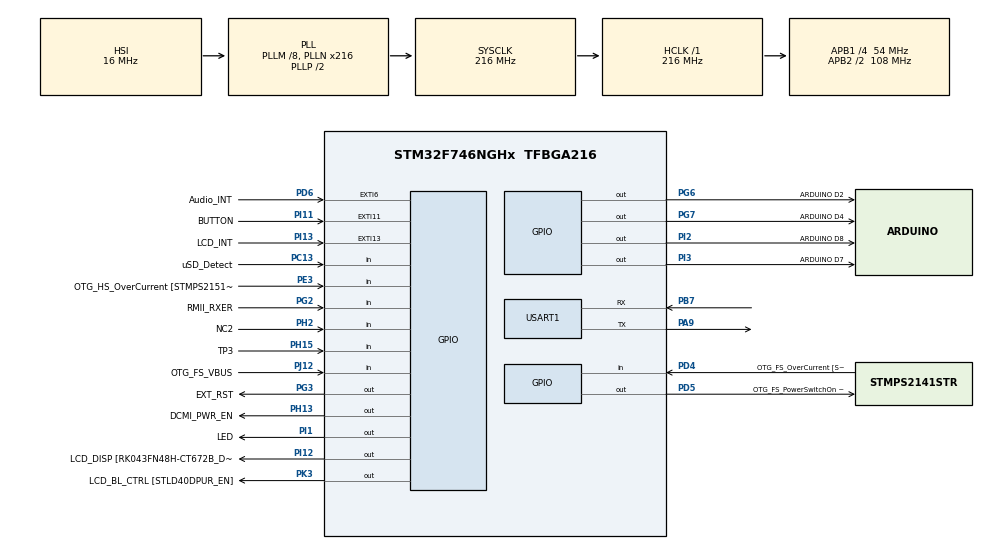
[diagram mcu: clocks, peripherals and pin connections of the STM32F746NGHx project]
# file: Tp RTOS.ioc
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FREERTOS.Tasks01=defaultTask,0,128,StartDefaultTask,Default,NULL,Dynamic,NULL,NULL
FREERTOS.configUSE_NEWLIB_REENTRANT=0
Mcu.Family=STM32F7
Mcu.Name=STM32F746NGHx
Mcu.Package=TFBGA216
NVIC.PriorityGroup=NVIC_PRIORITYGROUP_4
NVIC.TIM6_DAC_IRQn=true\:15\:0\:false\:false\:true\:false\:false\:true\:true
NVIC.TimeBase=TIM6_DAC_IRQn
NVIC.TimeBaseIP=TIM6
PA0/WKUP.GPIO_Label=ARDUINO A0
PA0/WKUP.GPIO_Mode=GPIO_MODE_ANALOG
PA0/WKUP.GPIO_PuPd=GPIO_NOPULL
PA0/WKUP.Signal=ADCx_IN0
PA1.GPIO_Label=RMII_REF_CLK [LAN8742A-CZ-TR_REFCLK0]
PA1.Signal=ETH_REF_CLK
PA10.GPIO_Label=OTG_FS_ID
PA10.Signal=USB_OTG_FS_ID
PA11.GPIO_Label=OTG_FS_N
PA11.Signal=USB_OTG_FS_DM
PA12.GPIO_Label=OTG_FS_P
PA12.Signal=USB_OTG_FS_DP
PA13.GPIO_Label=SWDIO
PA13.Mode=Serial_Wire
PA13.Signal=SYS_JTMS-SWDIO
PA14.GPIO_Label=SWCLK
PA14.Mode=Serial_Wire
PA14.Signal=SYS_JTCK-SWCLK
PA15.GPIO_Label=ARDUINO PWM/D9
PA15.GPIO_ModeDefaultPP=GPIO_MODE_AF_PP
PA15.GPIO_PuPd=GPIO_NOPULL
PA15.GPIO_Speed=GPIO_SPEED_FREQ_LOW
PA15.Signal=S_TIM2_CH1_ETR
PA2.GPIO_Label=RMII_MDIO [LAN8742A-CZ-TR_MDIO]
PA2.Signal=ETH_MDIO
PA3.GPIO_Label=ULPI_D0 [USB3320C-EZK_D0]
PA3.Signal=USB_OTG_HS_ULPI_D0
PA4.GPIO_Label=DCMI_HSYNC
PA4.Signal=DCMI_HSYNC
PA5.GPIO_Label=ULPI_CLK [USB3320C-EZK_CLKOUT]
PA5.Signal=USB_OTG_HS_ULPI_CK
PA6.Signal=DCMI_PIXCLK
PA7.GPIO_Label=RMII_CRS_DV [LAN8742A-CZ-TR_CRS_DV]
PA7.Signal=ETH_CRS_DV
PA8.GPIO_Label=ARDUINO PWM/D10
PA8.GPIO_ModeDefaultPP=GPIO_MODE_AF_PP
PA8.GPIO_PuPd=GPIO_NOPULL
PA8.GPIO_Speed=GPIO_SPEED_FREQ_LOW
PA8.Signal=S_TIM1_CH1
PA9.Mode=Asynchronous
PA9.Signal=USART1_TX
PB0.GPIO_Label=ULPI_D1 [USB3320C-EZK_D1]
PB0.Signal=USB_OTG_HS_ULPI_D1
PB1.GPIO_Label=ULPI_D2 [USB3320C-EZK_D2]
PB1.Signal=USB_OTG_HS_ULPI_D2
PB10.GPIO_Label=ULPI_D3 [USB3320C-EZK_D3]
PB10.Signal=USB_OTG_HS_ULPI_D3
PB11.GPIO_Label=ULPI_D4 [USB3320C-EZK_D4]
PB11.Signal=USB_OTG_HS_ULPI_D4
PB12.GPIO_Label=ULPI_D5 [USB3320C-EZK_D5]
PB12.Signal=USB_OTG_HS_ULPI_D5
PB13.GPIO_Label=ULPI_D6 [USB3320C-EZK_D6]
PB13.Signal=USB_OTG_HS_ULPI_D6
PB14.GPIO_Label=ARDUINO MISO/D12
PB14.GPIO_Mode=GPIO_MODE_AF_PP
PB14.GPIO_PuPd=GPIO_NOPULL
PB14.GPIO_Speed=GPIO_SPEED_FREQ_LOW
PB14.Signal=SPI2_MISO
PB15.GPIO_Label=ARDUINO MOSI/PWM/D11
PB15.GPIO_Mode=GPIO_MODE_AF_PP
PB15.GPIO_PuPd=GPIO_NOPULL
PB15.GPIO_Speed=GPIO_SPEED_FREQ_LOW
PB15.Signal=SPI2_MOSI
PB2.Signal=QUADSPI_CLK
PB3.GPIO_Label=SWO
PB3.Signal=SYS_JTDO-SWO
PB4.GPIO_Label=ARDUINO PWM/D3
PB4.GPIO_ModeDefaultPP=GPIO_MODE_AF_PP
PB4.GPIO_PuPd=GPIO_NOPULL
PB4.GPIO_Speed=GPIO_SPEED_FREQ_LOW
PB4.Signal=S_TIM3_CH1
PB5.GPIO_Label=ULPI_D7 [USB3320C-EZK_D7]
PB5.Signal=USB_OTG_HS_ULPI_D7
PB6.GPIO_Label=QSPI_NCS [N25Q128A13EF840E_S]
PB6.Signal=QUADSPI_BK1_NCS
PB7.Mode=Asynchronous
PB7.Signal=USART1_RX
PB8.GPIO_Label=ARDUINO SCL/D15
PB8.GPIO_Mode=GPIO_MODE_AF_OD
PB8.GPIO_PuPd=GPIO_NOPULL
PB8.GPIO_Speed=GPIO_SPEED_FREQ_LOW
PB8.Signal=I2C1_SCL
PB9.GPIO_Label=ARDUINO SDA/D14
PB9.GPIO_Mode=GPIO_MODE_AF_OD
PB9.GPIO_PuPd=GPIO_NOPULL
PB9.GPIO_Speed=GPIO_SPEED_FREQ_LOW
PB9.Signal=I2C1_SDA
PC0.GPIO_Label=ULPI_STP [USB3320C-EZK_STP]
PC0.Signal=USB_OTG_HS_ULPI_STP
PC1.GPIO_Label=RMII_MDC [LAN8742A-CZ-TR_MDC]
PC1.Signal=ETH_MDC
PC10.GPIO_Label=SDMMC_D2
PC10.Signal=SDMMC1_D2
PC11.GPIO_Label=SDMMC_D3
PC11.Signal=SDMMC1_D3
PC12.GPIO_Label=SDMMC_CK
PC12.Signal=SDMMC1_CK
PC13.GPIO_Label=uSD_Detect
PC13.Signal=GPIO_Input
PC14/OSC32_IN.GPIO_Label=RCC_OSC32_IN
PC14/OSC32_IN.Signal=RCC_OSC32_IN
PC15/OSC32_OUT.GPIO_Label=RCC_OSC32_OUT
PC15/OSC32_OUT.Signal=RCC_OSC32_OUT
PC2.GPIO_Label=ULPI_DIR [USB3320C-EZK_DIR]
PC2.Signal=USB_OTG_HS_ULPI_DIR
PC3.GPIO_Label=FMC_SDCKE0 [MT48LC4M32B2B5-6A_CKE]
PC3.Signal=FMC_SDCKE0
PC4.GPIO_Label=RMII_RXD0 [LAN8742A-CZ-TR_RXD0]
PC4.Signal=ETH_RXD0
PC5.GPIO_Label=RMII_RXD1 [LAN8742A-CZ-TR_RXD1]
PC5.Signal=ETH_RXD1
PC6.GPIO_Label=ARDUINO TX/D1
PC6.Signal=USART6_TX
PC7.GPIO_Label=ARDUINO RX/D0
PC7.Signal=USART6_RX
PC8.Signal=SDMMC1_D0
PC9.Signal=SDMMC1_D1
PD0.GPIO_Label=FMC_D2 [MT48LC4M32B2B5-6A_DQ2]
PD0.Signal=FMC_D2_DA2
PD1.GPIO_Label=FMC_D3 [MT48LC4M32B2B5-6A_DQ3]
PD1.Signal=FMC_D3_DA3
PD10.GPIO_Label=FMC_D15 [MT48LC4M32B2B5-6A_DQ15]
PD10.Signal=FMC_D15_DA15
PD11.GPIO_Label=QSPI_D0 [N25Q128A13EF840E_DQ0]
PD11.Signal=QUADSPI_BK1_IO0
PD12.GPIO_Label=QSPI_D1 [N25Q128A13EF840E_DQ1]
PD12.Signal=QUADSPI_BK1_IO1
PD13.GPIO_Label=QSPI_D3 [N25Q128A13EF840E_DQ3]
PD13.Signal=QUADSPI_BK1_IO3
PD14.GPIO_Label=FMC_D0 [MT48LC4M32B2B5-6A_DQ0]
PD14.Signal=FMC_D0_DA0
PD15.GPIO_Label=FMC_D1 [MT48LC4M32B2B5-6A_DQ1]
PD15.Signal=FMC_D1_DA1
PD2.GPIO_Label=SDMMC_D0
PD2.Signal=SDMMC1_CMD
PD3.GPIO_Label=DCMI_D5
PD3.Signal=DCMI_D5
PD4.GPIO_Label=OTG_FS_OverCurrent [STMPS2141STR_Fault]
PD4.Signal=GPIO_Input
PD5.GPIO_Label=OTG_FS_PowerSwitchOn [STMPS2141STR_EN]
PD5.PinState=GPIO_PIN_SET
PD5.Signal=GPIO_Output
PD6.GPIO_Label=Audio_INT
PD6.GPIO_ModeDefaultEXTI=GPIO_MODE_EVT_RISING
PD6.Signal=GPXTI6
PD7.GPIO_Label=SPDIF_RX0 [74LVC1G04SE_4]
PD7.Signal=SPDIFRX_IN0
PD8.GPIO_Label=FMC_D13 [MT48LC4M32B2B5-6A_DQ13]
PD8.Signal=FMC_D13_DA13
PD9.GPIO_Label=FMC_D14 [MT48LC4M32B2B5-6A_DQ14]
PD9.Signal=FMC_D14_DA14
PE0.GPIO_Label=FMC_NBL0 [MT48LC4M32B2B5-6A_DQM0]
PE0.Signal=FMC_NBL0
PE1.GPIO_Label=FMC_NBL1 [MT48LC4M32B2B5-6A_DQM1]
PE1.Signal=FMC_NBL1
PE10.GPIO_Label=FMC_D7 [MT48LC4M32B2B5-6A_DQ7]
PE10.Signal=FMC_D7_DA7
PE11.GPIO_Label=FMC_D8 [MT48LC4M32B2B5-6A_DQ8]
PE11.Signal=FMC_D8_DA8
PE12.GPIO_Label=FMC_D9 [MT48LC4M32B2B5-6A_DQ9]
PE12.Signal=FMC_D9_DA9
PE13.GPIO_Label=FMC_D10 [MT48LC4M32B2B5-6A_DQ10]
PE13.Signal=FMC_D10_DA10
PE14.GPIO_Label=FMC_D11 [MT48LC4M32B2B5-6A_DQ11]
PE14.Signal=FMC_D11_DA11
PE15.GPIO_Label=FMC_D12 [MT48LC4M32B2B5-6A_DQ12]
PE15.Signal=FMC_D12_DA12
PE2.GPIO_Label=QSPI_D2 [N25Q128A13EF840E_DQ2]
PE2.Signal=QUADSPI_BK1_IO2
PE3.GPIO_Label=OTG_HS_OverCurrent [STMPS2151STR_FAULT]
PE3.Signal=GPIO_Input
PE4.GPIO_Label=LCD_B0 [RK043FN48H-CT672B_B0]
PE4.Signal=LTDC_B0
PE5.GPIO_Label=DCMI_D6
PE5.Signal=DCMI_D6
PE6.GPIO_Label=DCMI_D7
PE6.Signal=DCMI_D7
PE7.GPIO_Label=FMC_D4 [MT48LC4M32B2B5-6A_DQ4]
PE7.Signal=FMC_D4_DA4
PE8.GPIO_Label=FMC_D5 [MT48LC4M32B2B5-6A_DQ5]
PE8.Signal=FMC_D5_DA5
PE9.GPIO_Label=FMC_D6 [MT48LC4M32B2B5-6A_DQ6]
PE9.Signal=FMC_D6_DA6
PF0.GPIO_Label=FMC_A0 [MT48LC4M32B2B5-6A_A0]
PF0.Signal=FMC_A0
PF1.GPIO_Label=FMC_A1 [MT48LC4M32B2B5-6A_A1]
PF1.Signal=FMC_A1
PF10.GPIO_Label=ARDUINO A1
PF10.GPIO_Mode=GPIO_MODE_ANALOG
PF10.GPIO_PuPd=GPIO_NOPULL
PF10.Signal=ADC3_IN8
PF11.GPIO_Label=FMC_SDNRAS [MT48LC4M32B2B5-6A_RAS]
PF11.Signal=FMC_SDNRAS
PF12.GPIO_Label=FMC_A6 [MT48LC4M32B2B5-6A_A6]
PF12.Signal=FMC_A6
PF13.GPIO_Label=FMC_A7 [MT48LC4M32B2B5-6A_A7]
PF13.Signal=FMC_A7
PF14.GPIO_Label=FMC_A8 [MT48LC4M32B2B5-6A_A8]
PF14.Signal=FMC_A8
PF15.GPIO_Label=FMC_A9 [MT48LC4M32B2B5-6A_A9]
PF15.Signal=FMC_A9
PF2.GPIO_Label=FMC_A2 [MT48LC4M32B2B5-6A_A2]
PF2.Signal=FMC_A2
PF3.GPIO_Label=FMC_A3 [MT48LC4M32B2B5-6A_A3]
PF3.Signal=FMC_A3
PF4.GPIO_Label=FMC_A4 [MT48LC4M32B2B5-6A_A4]
PF4.Signal=FMC_A4
PF5.GPIO_Label=FMC_A5 [MT48LC4M32B2B5-6A_A5]
PF5.Signal=FMC_A5
PF6.GPIO_Label=ARDUINO A5
PF6.GPIO_Mode=GPIO_MODE_ANALOG
PF6.GPIO_PuPd=GPIO_NOPULL
PF6.Signal=ADC3_IN4
PF7.GPIO_Label=ARDUINO A4
PF7.GPIO_Mode=GPIO_MODE_ANALOG
PF7.GPIO_PuPd=GPIO_NOPULL
PF7.Signal=ADC3_IN5
PF8.GPIO_Label=ARDUINO A3
PF8.GPIO_Mode=GPIO_MODE_ANALOG
PF8.GPIO_PuPd=GPIO_NOPULL
PF8.Signal=ADC3_IN6
PF9.GPIO_Label=ARDUINO A2
PF9.GPIO_Mode=GPIO_MODE_ANALOG
PF9.GPIO_PuPd=GPIO_NOPULL
PF9.Signal=ADC3_IN7
PG0.GPIO_Label=FMC_A10 [MT48LC4M32B2B5-6A_A10]
PG0.Signal=FMC_A10
PG1.GPIO_Label=FMC_A11 [MT48LC4M32B2B5-6A_A11]
PG1.Signal=FMC_A11
PG10.GPIO_Label=SAI2_SDB [WM8994ECS/R_ADCDAT1]
PG10.Signal=SAI2_SD_B
PG11.GPIO_Label=RMII_TX_EN [LAN8742A-CZ-TR_TXEN]
PG11.Signal=ETH_TX_EN
PG12.GPIO_Label=LCD_B4 [RK043FN48H-CT672B_B4]
PG12.Signal=LTDC_B4
PG13.GPIO_Label=RMII_TXD0 [LAN8742A-CZ-TR_TXD0]
PG13.Signal=ETH_TXD0
PG14.GPIO_Label=RMII_TXD1 [LAN8742A-CZ-TR_TXD1]
PG14.Signal=ETH_TXD1
PG15.GPIO_Label=FMC_SDNCAS [MT48LC4M32B2B5-6A_CAS]
PG15.Signal=FMC_SDNCAS
PG2.GPIO_Label=RMII_RXER
PG2.Signal=GPIO_Input
PG3.GPIO_Label=EXT_RST
PG3.Signal=GPIO_Output
PG4.GPIO_Label=FMC_BA0 [MT48LC4M32B2B5-6A_BA0]
PG4.Signal=FMC_A14_BA0
PG5.GPIO_Label=FMC_BA1 [MT48LC4M32B2B5-6A_BA1]
PG5.Signal=FMC_A15_BA1
PG6.GPIO_Label=ARDUINO D2
PG6.Signal=GPIO_Output
PG7.GPIO_Label=ARDUINO D4
PG7.Signal=GPIO_Output
PG8.GPIO_Label=FMC_SDCLK [MT48LC4M32B2B5-6A_CLK]
PG8.Signal=FMC_SDCLK
PG9.GPIO_Label=DCMI_VSYNC
PG9.Signal=DCMI_VSYNC
PH0/OSC_IN.GPIO_Label=OSC_25M [NZ2520SB-25.00M_OUT]
PH0/OSC_IN.Mode=HSE-External-Oscillator
PH0/OSC_IN.Signal=RCC_OSC_IN
PH1/OSC_OUT.Mode=HSE-External-Oscillator
PH1/OSC_OUT.Signal=RCC_OSC_OUT
PH10.GPIO_Label=DCMI_D1
PH10.Signal=DCMI_D1
PH11.GPIO_Label=DCMI_D2
PH11.Signal=DCMI_D2
PH12.GPIO_Label=DCMI_D3
PH12.Signal=DCMI_D3
PH13.GPIO_Label=DCMI_PWR_EN
PH13.Signal=GPIO_Output
PH14.GPIO_Label=DCMI_D4
PH14.Signal=DCMI_D4
PH15.GPIO_Label=TP3
PH15.Signal=GPIO_Input
PH2.GPIO_Label=NC2
PH2.Signal=GPIO_Input
PH3.GPIO_Label=FMC_SDNE0 [MT48LC4M32B2B5-6A_CS]
PH3.Signal=FMC_SDNE0
PH4.GPIO_Label=ULPI_NXT [USB3320C-EZK_NXT]
PH4.Signal=USB_OTG_HS_ULPI_NXT
PH5.GPIO_Label=FMC_SDNME [MT48LC4M32B2B5-6A_WE]
PH5.Signal=FMC_SDNWE
PH6.GPIO_Label=ARDUINO PWM/D6
PH6.Signal=S_TIM12_CH1
PH7.GPIO_Label=LCD_SCL [RK043FN48H-CT672B_SCL]
PH7.Signal=I2C3_SCL
PH8.GPIO_Label=LCD_SDA [RK043FN48H-CT672B_SDA]
PH8.Signal=I2C3_SDA
PH9.GPIO_Label=DCMI_D0
PH9.Signal=DCMI_D0
PI0.GPIO_Label=ARDUINO PWM/CS/D5
PI0.GPIO_ModeDefaultPP=GPIO_MODE_AF_PP
PI0.GPIO_PuPd=GPIO_NOPULL
PI0.GPIO_Speed=GPIO_SPEED_FREQ_LOW
PI0.Signal=S_TIM5_CH4
PI1.GPIO_Label=LED
PI1.Signal=GPIO_Output
PI10.GPIO_Label=LCD_HSYNC [RK043FN48H-CT672B_HSYNC]
PI10.Signal=LTDC_HSYNC
PI11.GPIO_Label=BUTTON
PI11.Signal=GPXTI11
PI12.GPIO_Label=LCD_DISP [RK043FN48H-CT672B_DISP] 
PI12.Signal=GPIO_Output
PI13.GPIO_Label=LCD_INT
PI13.GPIO_ModeDefaultEXTI=GPIO_MODE_EVT_RISING
PI13.Signal=GPXTI13
PI14.GPIO_Label=LCD_CLK [RK043FN48H-CT672B_CLK]
PI14.Signal=LTDC_CLK
PI15.GPIO_Label=LCD_R0 [RK043FN48H-CT672B_R0]
PI15.Signal=LTDC_R0
PI2.GPIO_Label=ARDUINO D8
PI2.Signal=GPIO_Output
PI3.GPIO_Label=ARDUINO D7
PI3.Signal=GPIO_Output
PI4.GPIO_Label=SAI2_MCLKA [WM8994ECS/R_MCLK1]
PI4.Signal=SAI2_MCLK_A
PI5.GPIO_Label=SAI2_SCKA [WM8994ECS/R_BCLK1]
PI5.Signal=SAI2_SCK_A
PI6.GPIO_Label=SAI2_SDA [WM8994ECS/R_DACDAT1]
PI6.Signal=SAI2_SD_A
PI7.GPIO_Label=SAI2_FSA [WM8994ECS/R_LRCLK1]
PI7.Signal=SAI2_FS_A
PI8.GPIO_Label=NC1 [TP2]
PI8.Signal=RTC_TS
PI9.GPIO_Label=LCD_VSYNC [RK043FN48H-CT672B_VSYNC]
PI9.Signal=LTDC_VSYNC
PJ0.GPIO_Label=LCD_R1 [RK043FN48H-CT672B_R1]
PJ0.Signal=LTDC_R1
PJ1.GPIO_Label=LCD_R2 [RK043FN48H-CT672B_R2]
PJ1.Signal=LTDC_R2
PJ10.GPIO_Label=LCD_G3 [RK043FN48H-CT672B_G3]
PJ10.Signal=LTDC_G3
PJ11.GPIO_Label=LCD_G4 [RK043FN48H-CT672B_G4]
PJ11.Signal=LTDC_G4
PJ12.GPIO_Label=OTG_FS_VBUS
PJ12.Signal=GPIO_Input
PJ13.GPIO_Label=LCD_B1 [RK043FN48H-CT672B_B1]
PJ13.Signal=LTDC_B1
PJ14.GPIO_Label=LCD_B2 [RK043FN48H-CT672B_B2]
PJ14.Signal=LTDC_B2
PJ15.GPIO_Label=LCD_B3 [RK043FN48H-CT672B_B3]
PJ15.Signal=LTDC_B3
PJ2.GPIO_Label=LCD_R3 [RK043FN48H-CT672B_R3]
PJ2.Signal=LTDC_R3
PJ3.GPIO_Label=LCD_R4 [RK043FN48H-CT672B_R4]
PJ3.Signal=LTDC_R4
PJ4.GPIO_Label=LCD_R5 [RK043FN48H-CT672B_R5]
PJ4.Signal=LTDC_R5
PJ5.GPIO_Label=LCD_R6 [RK043FN48H-CT672B_R6]
PJ5.Signal=LTDC_R6
PJ6.GPIO_Label=LCD_R7 [RK043FN48H-CT672B_R7]
PJ6.Signal=LTDC_R7
PJ7.GPIO_Label=LCD_G0 [RK043FN48H-CT672B_G0]
PJ7.Signal=LTDC_G0
PJ8.GPIO_Label=LCD_G1 [RK043FN48H-CT672B_G1]
PJ8.Signal=LTDC_G1
PJ9.GPIO_Label=LCD_G2 [RK043FN48H-CT672B_G2]
PJ9.Signal=LTDC_G2
PK0.GPIO_Label=LCD_G5 [RK043FN48H-CT672B_G5]
PK0.Signal=LTDC_G5
PK1.GPIO_Label=LCD_G6 [RK043FN48H-CT672B_G6]
PK1.Signal=LTDC_G6
PK2.GPIO_Label=LCD_G7 [RK043FN48H-CT672B_G7]
PK2.Signal=LTDC_G7
PK3.GPIO_Label=LCD_BL_CTRL [STLD40DPUR_EN]
PK3.Signal=GPIO_Output
PK4.GPIO_Label=LCD_B5 [RK043FN48H-CT672B_B5]
PK4.Signal=LTDC_B5
PK5.GPIO_Label=LCD_B6 [RK043FN48H-CT672B_B6]
PK5.Signal=LTDC_B6
PK6.GPIO_Label=LCD_B7 [RK043FN48H-CT672B_B7]
PK6.Signal=LTDC_B7
PK7.GPIO_Label=LCD_DE [RK043FN48H-CT672B_DE]
PK7.Signal=LTDC_DE
ProjectManager.HeapSize=0x200
ProjectManager.StackSize=0x400
ProjectManager.TargetToolchain=STM32CubeIDE
RCC.AHBFreq_Value=216000000
RCC.APB1CLKDivider=RCC_HCLK_DIV4
RCC.APB1Freq_Value=54000000
RCC.APB1TimFreq_Value=108000000
RCC.APB2CLKDivider=RCC_HCLK_DIV2
RCC.APB2Freq_Value=108000000
RCC.APB2TimFreq_Value=216000000
RCC.CortexFreq_Value=216000000
RCC.HCLKFreq_Value=216000000
RCC.HSE_VALUE=25000000
RCC.HSI_VALUE=16000000
RCC.LSE_VALUE=32768
RCC.PLLM=8
RCC.PLLN=216
RCC.PLLSourceVirtual=RCC_PLLSOURCE_HSI
RCC.SYSCLKFreq_VALUE=216000000
RCC.SYSCLKSource=RCC_SYSCLKSOURCE_PLLCLK
RCC.USBFreq_Value=216000000
RCC.VCOOutputFreq_Value=432000000
SH.ADCx_IN0.0=ADC3_IN0
SH.FMC_A0.0=FMC_A0
SH.FMC_A1.0=FMC_A1
SH.FMC_A10.0=FMC_A10
SH.FMC_A11.0=FMC_A11
SH.FMC_A14_BA0.0=FMC_BA0
SH.FMC_A15_BA1.0=FMC_BA1
SH.FMC_A2.0=FMC_A2
SH.FMC_A3.0=FMC_A3
SH.FMC_A4.0=FMC_A4
SH.FMC_A5.0=FMC_A5
SH.FMC_A6.0=FMC_A6
SH.FMC_A7.0=FMC_A7
SH.FMC_A8.0=FMC_A8
SH.FMC_A9.0=FMC_A9
SH.FMC_D0_DA0.0=FMC_D0
SH.FMC_D10_DA10.0=FMC_D10
SH.FMC_D11_DA11.0=FMC_D11
SH.FMC_D12_DA12.0=FMC_D12
SH.FMC_D13_DA13.0=FMC_D13
SH.FMC_D14_DA14.0=FMC_D14
SH.FMC_D15_DA15.0=FMC_D15
SH.FMC_D1_DA1.0=FMC_D1
SH.FMC_D2_DA2.0=FMC_D2
SH.FMC_D3_DA3.0=FMC_D3
SH.FMC_D4_DA4.0=FMC_D4
SH.FMC_D5_DA5.0=FMC_D5
SH.FMC_D6_DA6.0=FMC_D6
SH.FMC_D7_DA7.0=FMC_D7
SH.FMC_D8_DA8.0=FMC_D8
SH.FMC_D9_DA9.0=FMC_D9
SH.FMC_NBL0.0=FMC_NBL0
SH.FMC_NBL1.0=FMC_NBL1
SH.FMC_SDCLK.0=FMC_SDCLK
SH.FMC_SDNCAS.0=FMC_SDNCAS
SH.FMC_SDNRAS.0=FMC_SDNRAS
SH.FMC_SDNWE.0=FMC_SDNWE
SH.S_TIM12_CH1.0=TIM12_CH1
SH.S_TIM1_CH1.0=TIM1_CH1
SH.S_TIM2_CH1_ETR.0=TIM2_CH1
SH.S_TIM3_CH1.0=TIM3_CH1
SH.S_TIM5_CH4.0=TIM5_CH4
USART1.VirtualMode-Asynchronous=VM_ASYNC
VP_FREERTOS_VS_CMSIS_V1.Mode=CMSIS_V1
VP_SYS_VS_tim6.Mode=TIM6
board=STM32F746G-DISCO

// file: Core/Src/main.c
/* USER CODE BEGIN Header */
/**
 ******************************************************************************
 * @file           : main.c
 * @brief          : Main program body
 ******************************************************************************
 * @attention
 *
 * Copyright (c) 2024 STMicroelectronics.
 * All rights reserved.
 *
 * This software is licensed under terms that can be found in the LICENSE file
 * in the root directory of this software component.
 * If no LICENSE file comes with this software, it is provided AS-IS.
 *
 ******************************************************************************
 */
/* USER CODE END Header */
#include "main.h"
#include "cmsis_os.h"
#include "usart.h"
#include "gpio.h"

/* USER CODE BEGIN Includes */
#include <stdio.h>
/* USER CODE END Includes */

void SystemClock_Config(void);
void MX_FREERTOS_Init(void);

/* USER CODE BEGIN 0 */

TaskHandle_t handle_blink_led; //Reference de la tache pour pouvoir interragir avec
TaskHandle_t handle_give, handle_take;
SemaphoreHandle_t sem1;

QueueHandle_t queue1;

int i=1;
int __io_putchar(int ch) {
	HAL_UART_Transmit(&huart1, (uint8_t *)&ch, 1, HAL_MAX_DELAY);
	return ch;
}

void task_blink_led (void * unused)
{
	for(;;)
	{
		HAL_GPIO_TogglePin(LED_GPIO_Port,LED_Pin);
		printf("Je clignote\r\n");
		vTaskDelay(100);
	}
}

//Exemple : On a une tache qui attend une donnée, la donnée arrive dans une interruption (de timer par exemple)
// Dans cette interruption, on envoit le semaphore à la tache qui attend pour la reveiller et qu'elle s'execute
void task_Give (void * unused)
{

	for(;;){
		printf("Je rentre en interruption\r\n");
		//xSemaphoreGive(sem1);
		//xTaskNotifyGive(handle_take);

		xQueueSend(queue1, &i, portMAX_DELAY);  // bloque si pleine

		printf("J'ai envoyé le message\r\n");
		//vTaskDelay(100);

		vTaskDelay(100+i);
		i=i+100;
	}
}

//Reveiller par le semaphore envoyé par la tache give (qui simule une interruption)
//Pas besoin de delai, elle se reveille quand give est executé et il y a deja un delai dedans
//La tache execute tout ce qu'il y a avant le semaphore take, et elle se bloque à cette ligne jusqu'a qu'il arrive
void task_Take (void * unused)
{
	int data;

	for(;;){
		printf("Je suis arrivé au semaphore, je me bloque\r\n");
		if(xQueueReceive(queue1, &data, 1000) == pdTRUE)
				{
					printf("J'ai recu le message : %d\r\n", data);
				}
				else
				{
					printf("Erreur de reception du message\r\n");
					Error_Handler();
					//NVIC_SystemReset(); reset du systeme
				}

		/*if(ulTaskNotifyTake(pdTRUE, 1000) == pdTRUE)
		{
			printf("J'ai recu le semaphore\r\n");
		}
		else
		{
			printf("Erreur de reception du semaphore\r\n");
			Error_Handler();
			//NVIC_SystemReset(); reset du systeme
		}
		/*if(xSemaphoreTake(sem1, 1000) == pdTRUE)
		{
			printf("J'ai recu le semaphore\r\n");
		}
		else
		{
			printf("Erreur de reception du semaphore\r\n");
			Error_Handler();
			//NVIC_SystemReset(); reset du systeme
		}*/
	}
}

// ET ICI
/* USER CODE END 0 */

int main(void)
{

	/* MCU Configuration--------------------------------------------------------*/

	/* Reset of all peripherals, Initializes the Flash interface and the Systick. */
	HAL_Init();

	/* Configure the system clock */
	SystemClock_Config();

	/* Initialize all configured peripherals */
	MX_GPIO_Init();
	MX_USART1_UART_Init();
	/* USER CODE BEGIN 2 */
	printf("\r\n======================================================================\r\n");

	sem1 = xSemaphoreCreateBinary(); //Allocation de la memoire pour créer le semaphore (Obligatoire dés qu'on a un handle)

	queue1 = xQueueCreate (3, sizeof(int));

	BaseType_t ret;

	xTaskCreate(task_blink_led,
			"BLINK_LED",
			256, //Taille de la pile
			NULL, //parameter
			3, //Priority
			&handle_blink_led //Allocation de la mémoire pour créer l'objet
	);

	xTaskCreate(task_Give,
			"GIVE",
			256,
			NULL,
			2,
			&handle_give
	);

	ret = xTaskCreate(task_Take,
			"Take",
			256,
			NULL,
			1,
			&handle_take
	);

	if (ret != pdPASS)
	{
		printf("Erreur dans l'acquisition du semaphore");
		Error_Handler();
	}

	vTaskStartScheduler();		// Ne rien coder apres cette ligne!
	/* USER CODE END 2 */

	/* Call init function for freertos objects (in freertos.c) */
	MX_FREERTOS_Init();

	/* Start scheduler */
	osKernelStart();

	/* We should never get here as control is now taken by the scheduler */
	/* Infinite loop */
	while (1)
	{

	}
}

void SystemClock_Config(void)
{
	RCC_OscInitTypeDef RCC_OscInitStruct = {0};
	RCC_ClkInitTypeDef RCC_ClkInitStruct = {0};

	/** Configure the main internal regulator output voltage
	 */
	__HAL_RCC_PWR_CLK_ENABLE();
	__HAL_PWR_VOLTAGESCALING_CONFIG(PWR_REGULATOR_VOLTAGE_SCALE1);

	/** Initializes the RCC Oscillators according to the specified parameters
	 * in the RCC_OscInitTypeDef structure.
	 */
	RCC_OscInitStruct.OscillatorType = RCC_OSCILLATORTYPE_HSI;
	RCC_OscInitStruct.HSIState = RCC_HSI_ON;
	RCC_OscInitStruct.HSICalibrationValue = RCC_HSICALIBRATION_DEFAULT;
	RCC_OscInitStruct.PLL.PLLState = RCC_PLL_ON;
	RCC_OscInitStruct.PLL.PLLSource = RCC_PLLSOURCE_HSI;
	RCC_OscInitStruct.PLL.PLLM = 8;
	RCC_OscInitStruct.PLL.PLLN = 216;
	RCC_OscInitStruct.PLL.PLLP = RCC_PLLP_DIV2;
	RCC_OscInitStruct.PLL.PLLQ = 2;
	if (HAL_RCC_OscConfig(&RCC_OscInitStruct) != HAL_OK)
	{
		Error_Handler();
	}

	/** Activate the Over-Drive mode
	 */
	if (HAL_PWREx_EnableOverDrive() != HAL_OK)
	{
		Error_Handler();
	}

	/** Initializes the CPU, AHB and APB buses clocks
	 */
	RCC_ClkInitStruct.ClockType = RCC_CLOCKTYPE_HCLK|RCC_CLOCKTYPE_SYSCLK
			|RCC_CLOCKTYPE_PCLK1|RCC_CLOCKTYPE_PCLK2;
	RCC_ClkInitStruct.SYSCLKSource = RCC_SYSCLKSOURCE_PLLCLK;
	RCC_ClkInitStruct.AHBCLKDivider = RCC_SYSCLK_DIV1;
	RCC_ClkInitStruct.APB1CLKDivider = RCC_HCLK_DIV4;
	RCC_ClkInitStruct.APB2CLKDivider = RCC_HCLK_DIV2;

	if (HAL_RCC_ClockConfig(&RCC_ClkInitStruct, FLASH_LATENCY_7) != HAL_OK)
	{
		Error_Handler();
	}
}

void HAL_TIM_PeriodElapsedCallback(TIM_HandleTypeDef *htim)
{
	if (htim->Instance == TIM6) {
		HAL_IncTick();
	}
}

void Error_Handler(void)
{
	__disable_irq();
	while (1)
	{
	}
}
